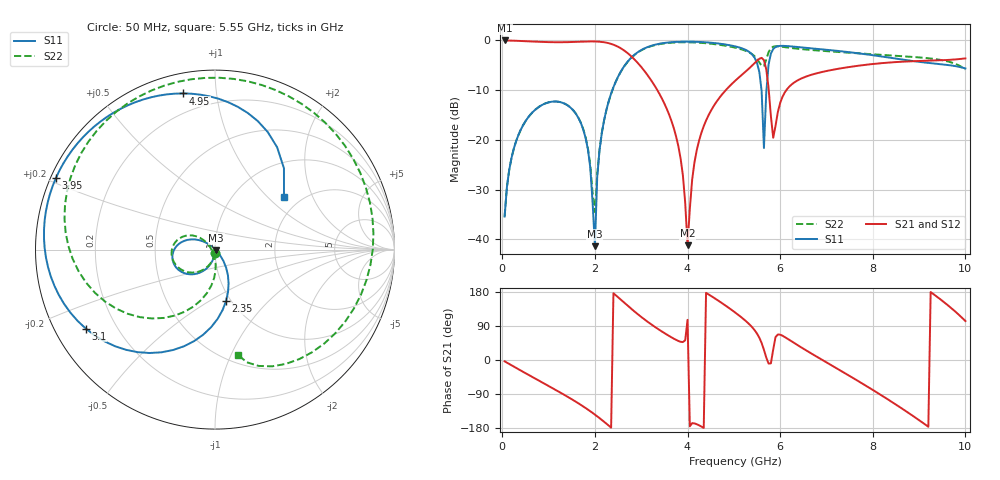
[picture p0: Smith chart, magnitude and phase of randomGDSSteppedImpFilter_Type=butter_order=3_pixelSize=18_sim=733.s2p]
! freq	dB(S11)	phase(S11)	dB(S12)	phase(S12)
!  dB(S21)	phase(S21)	dB(S22)	phase(S22)
!S-par simulation data
#  GHz  S  DB  R 50
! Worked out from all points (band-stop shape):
!   200 points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, 50 MHz to 10 GHz, reference 50 ohm
!   highest |S21| = -0.01 dB at 50 MHz (marker M1); lowest = -41.2 dB at 4 GHz (marker M2)
!   |S21| within 3 dB of the highest: start of sweep to 2.763 GHz
!   lowest |S11| = -41.4 dB at 2 GHz (marker M3), VSWR 1.02, Z = 50.7 - j0.477 ohm
!   |S11| at or under -10 dB: start of sweep to 2.377 GHz; 5.598 GHz to 5.704 GHz (106.5 MHz wide, 1.88 % of centre)
!   |S22| runs from -35.4 to -0.4 dB; largest |S21 - S12| = 0
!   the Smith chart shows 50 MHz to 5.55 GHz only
!   S11 on the Smith chart (normalised r, x): 50 MHz: 1.00, -0.03; 2.35 GHz: 0.95, -0.59; 3.1 GHz: 0.09, -0.28; 3.95 GHz: 0.01, +0.21; 4.95 GHz: 0.10, +0.81; 5.55 GHz: 1.65, +1.26
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0.05  -35.41 -92.6  -0.01 -3.6  -0.01 -3.6  -35.41 -92.9
0.65  -14.48 -133.1  -0.22 -45.0  -0.22 -45.0  -14.48 -137.6
1.75  -17.97 153.4  -0.24 -122.7  -0.24 -122.7  -17.88 144.5
2  -41.36 -33.4  -0.21 -144.1  -0.21 -144.1  -34.51 -131.9
2.1  -22.02 -53.5  -0.26 -153.4  -0.26 -153.4  -21.92 -87.4
2.35  -10.68 -77.8  -0.70 -178.5  -0.70 -178.5  -10.72 -105.3
3.1  -1.48 -148.6  -6.51 104.3  -6.51 104.3  -1.54 173.4
3.4  -0.66 -170.7  -10.86 78.8  -10.86 78.8  -0.74 144.2
3.95  -0.25 155.9  -32.69 52.1  -32.69 52.1  -0.37 93.2
4  -0.25 153.1  -41.19 106.0  -41.19 106.0  -0.38 88.5
4.25  -0.30 139.6  -20.11 -172.4  -20.11 -172.4  -0.46 64.2
4.95  -1.03 101.4  -8.80 132.4  -8.80 132.4  -1.30 -11.3
5.05  -1.24 95.3  -7.93 123.4  -7.93 123.4  -1.51 -22.9
5.55  -6.32 37.3  -3.69 58.9  -3.69 58.9  -4.40 -77.5
5.65  -21.64 -53.4  -3.97 26.8  -3.97 26.8  -5.15 -71.6
5.75  -4.85 151.9  -9.56 -9.3  -9.56 -9.3  -2.36 -74.6
5.85  -1.73 117.2  -19.58 27.7  -19.58 27.7  -1.26 -92.9
6  -1.10 91.9  -12.58 66.9  -12.58 66.9  -1.23 -114.8
6.7  -1.61 40.1  -6.84 15.2  -6.84 15.2  -1.95 175.3
8.35  -3.45 -77.2  -4.45 -105.8  -4.45 -105.8  -3.00 47.3
9.25  -4.58 -165.5  -4.07 179.4  -4.07 179.4  -3.64 -18.1
10  -5.64 113.7  -3.62 102.8  -3.62 102.8  -5.84 -89.5
